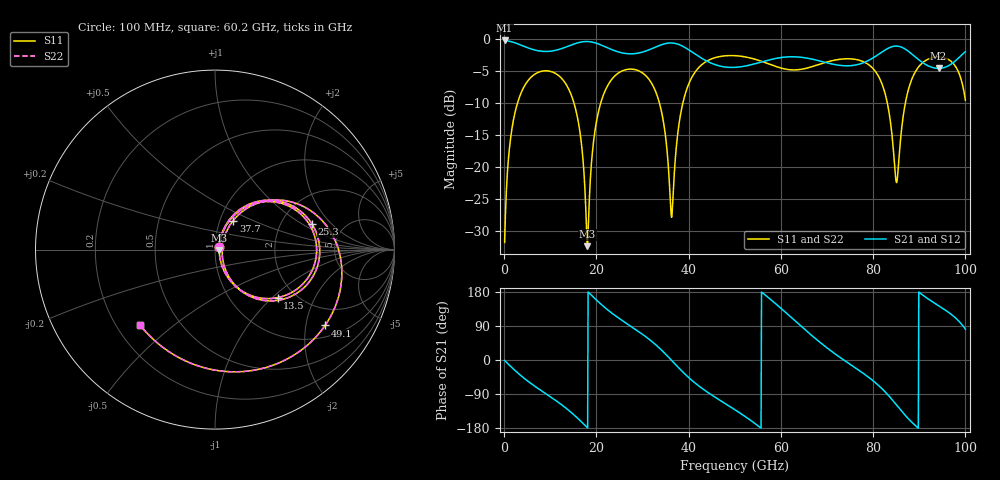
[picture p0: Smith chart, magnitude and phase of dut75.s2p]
! Touchstone file exported from HFSS 2026.1.0
!  File:  C:/ffzhzh/LocalFiles/Ansys_Project_Files/temp_train_TSV_RDL_75_1783450086_7600.aedt
!  Generated:  03:06:22 AM Jul  8, 2026
!  Design:  TSV_RDL
!  Project:  temp_train_TSV_RDL_75_1783450086_7600
! Variables:
!  h_bsmrdl = 2.38um
!  h_ox = 20um
!  h_rdl = 5um
!  h_sub = 89.13um
!  h_tmrdl = 2.47um
!  h_tsv = 89.13um
!  h_via = 3um
!  l_bsmrdl = 568.02um
!  l_sub = 3074.33um
!  l_tmrdl = 213.34um
!  m_sub = 200um
!  pitch = 54.99um
!  r_tsv = 12.61um
!  s_tmrdl = 10um
!  w_bsmrdl = 15.67um
!  w_sub = 500um
!  w_tmrdl = 23.3um
!  x_tsv_center1 = 224.99um
!  x_tsv_center2 = 808.68um
!  x_tsv_center3 = 1045.32um
!  x_tsv_center4 = 1629.01um
!  x_tsv_center5 = 1865.65um
!  x_tsv_center6 = 2449.34um
# GHz S MA R 50.000000
! Terminal data exported
! Port[1] = TM_RDL1_1_T1
! Port[2] = TM_RDL5_1_T1
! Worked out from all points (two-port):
!   1000 points, 100 MHz to 100 GHz, reference 50 ohm
!   highest |S21| = -0.20 dB at 100 MHz (marker M1); lowest = -4.6 dB at 94.2 GHz (marker M2)
!   |S21| within 3 dB of the highest: start of sweep to 43.35 GHz; 79.32 GHz to 89.86 GHz (10.54 GHz wide, 12.5 % of centre) (the widest 2 of 4)
!   lowest |S11| = -32.4 dB at 18 GHz (marker M3), VSWR 1.05, Z = 52.4 - j0.519 ohm
!   |S11| at or under -10 dB: 15.14 GHz to 20.93 GHz (5.789 GHz wide, 32.1 % of centre); 33.67 GHz to 38.74 GHz (5.064 GHz wide, 14 % of centre); 83.08 GHz to 86.98 GHz (3.894 GHz wide, 4.58 % of centre) (the widest 3 of 4)
!   |S22| runs from -32.5 to -2.6 dB; largest |S21 - S12| = 4.4e-14
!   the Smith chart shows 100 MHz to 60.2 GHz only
!   S11 on the Smith chart (normalised r, x): 100 MHz: 1.05, +0.03; 13.5 GHz: 1.63, -1.08; 25.3 GHz: 2.96, +1.23; 37.7 GHz: 1.16, +0.39; 49.1 GHz: 1.36, -2.58; 60.2 GHz: 0.30, -0.39
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0.1  0.02578 29.1  0.9777 -1.3  0.9777 -1.3  0.02578 29.1
! Gamma 0 0 0 0
! Port Impedance 50 0 50 0
1.5  0.1794 63.4  0.9571 -17.9  0.9571 -17.9  0.1794 63.4
3.8  0.3901 43.3  0.8946 -42.9  0.8946 -42.9  0.3901 43.3
13.5  0.4394 -37.5  0.8713 -127.9  0.8713 -127.9  0.4394 -37.6
16.8  0.1477 -66.4  0.952 -163.7  0.952 -163.7  0.1477 -66.6
18  0.02411 -11.8  0.959 -178.0  0.959 -178.0  0.02362 -12.2
20.5  0.2759 57.0  0.916 152.7  0.916 152.7  0.2759 57.0
25.3  0.5586 14.9  0.7855 106.6  0.7855 106.6  0.5586 14.8
33.4  0.342 -51.4  0.8852 34.4  0.8852 34.4  0.342 -51.6
36.2  0.0427 -19.3  0.9345 0.4  0.9345 0.4  0.04163 -20.0
37.7  0.1912 57.9  0.9137 -18.8  0.9137 -18.8  0.1908 58.2
41.8  0.5783 21.7  0.7489 -64.7  0.7489 -64.7  0.5781 21.7
49.1  0.7449 -34.6  0.6018 -124.0  0.6018 -124.0  0.7448 -34.6
50.1  0.7432 -42.0  0.6026 -131.7  0.6026 -131.7  0.7431 -42.1
60.2  0.5929 -134.7  0.7203 134.4  0.7203 134.4  0.5931 -134.6
66.7  0.6095 153.9  0.6992 64.6  0.6992 64.6  0.6098 154.0
74.5  0.7033 82.7  0.6196 -7.2  0.6196 -7.2  0.7034 82.7
83.4  0.2746 9.2  0.8544 -94.7  0.8544 -94.7  0.2743 8.9
85.1  0.07571 63.7  0.8839 -119.2  0.8839 -119.2  0.07418 63.7
88.2  0.4674 99.9  0.7752 -162.1  0.7752 -162.1  0.4671 100.0
94.2  0.7277 53.1  0.5915 143.2  0.5915 143.2  0.7275 53.1
100  0.3339 11.3  0.7977 81.4  0.7977 81.4  0.3321 10.7
